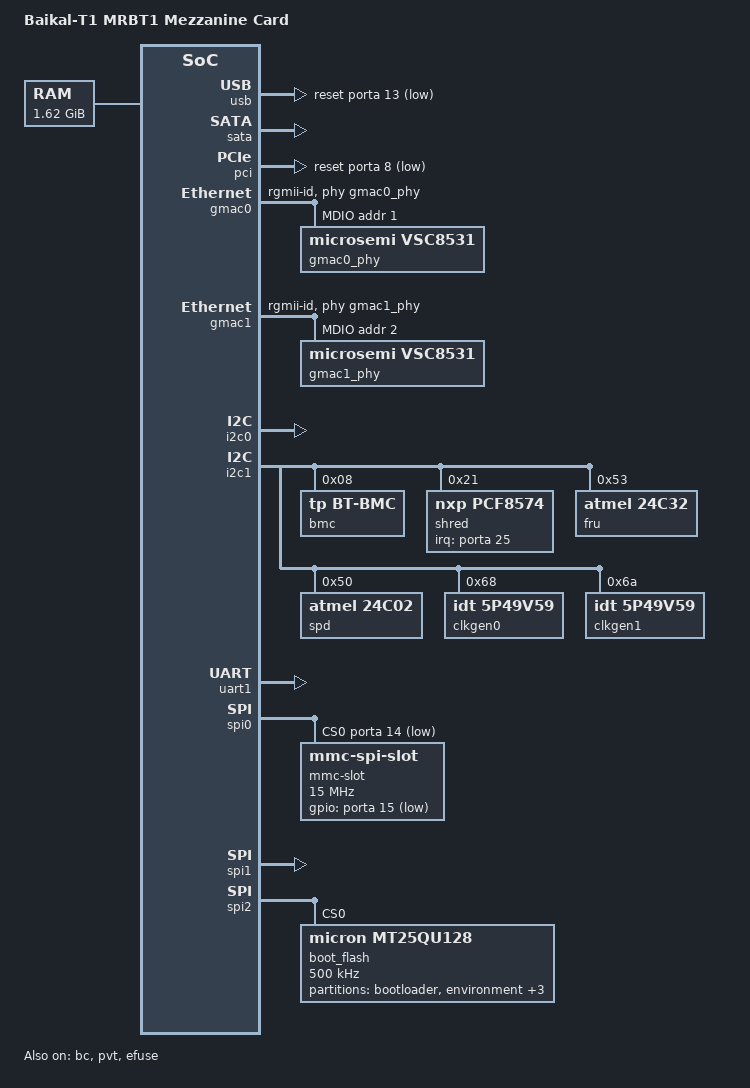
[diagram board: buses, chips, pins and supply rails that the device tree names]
/*
 * Baikal-T1 MRBT1 board device tree
 *
 * Copyright (C) 2018 T-platforms JSC
 *
 * This program is free software; you can redistribute it and/or
 * modify it under the terms of the GNU General Public License
 * as published by the Free Software Foundation; either version 2
 * of the License, or (at your option) any later version.
 */

#include <dt-bindings/interrupt-controller/mips-gic.h>
#include <dt-bindings/gpio/gpio.h>
#include <dt-bindings/net/mscc-phy-vsc8531.h>

#include  "baikal_t1_soc.dtsi"

/ {
	model = "Baikal-T1 MRBT1 Mezzanine Card";
	compatible = "baikal,mips", "baikal,baikal-t1-soc", "tplatforms,baikal-mrbt1-card";

	chosen {
		bootargs = "root=/dev/ram rw console=ttyS0,115200 earlyprintk=uart8250,mmio32,0x1F04A000,115200 nohtw";
		linux,initrd-start = <0 0x01000000>;
		linux,initrd-end   = <0 0x02000000>;
	};

	memory {
		device_type = "memory";
		reg = <0 0x00000000 0 0x08000000>,
		      <0 0x20000000 0 0x60000000>;
	};
};

&usb {
	status = "okay";

	reset-gpio = <&porta 13 GPIO_ACTIVE_LOW>;
};

&sata {
	status = "okay";
};

&pci {
	status = "okay";

	/* Deassert downstream devices reset pin */
	reset-gpio = <&porta 8 GPIO_ACTIVE_LOW>;
};

&xgmac {
	status = "disabled";
};

&gmac0 {
	status = "okay";
	phy-mode = "rgmii-id";
	phy-handle = <&gmac0_phy>;
	snps,reset-gp-out;
	snps,reset-active-low;
	snps,reset-delays-us = <0 2000 16000>;

	gmdio0: gmac0_mdio {
		compatible = "snps,dwmac-mdio";
		#address-cells = <1>;
		#size-cells = <0>;

		gmac0_phy: ethernet-phy@1 {
			compatible = "microsemi,vsc8531", "ethernet-phy-id0007.0570", "ethernet-phy-ieee802.3-c22", "ethernet-phy-ieee802.3-c45";
			reg = <0x1>;

			vsc8531,vddmac = <1800>;
			vsc8531,edge-slowdown = <0>;
			vsc8531,led-0-mode = <VSC8531_LINK_1000_ACTIVITY>;
			vsc8531,led-1-mode = <VSC8531_LINK_100_ACTIVITY>;
		};
	};
};

&gmac1 {
	status = "okay";
	phy-mode = "rgmii-id";
	phy-handle = <&gmac1_phy>;
	snps,reset-gp-out;
	snps,reset-active-low;
	snps,reset-delays-us = <0 2000 16000>;

	gmdio1: gmac1_mdio {
		compatible = "snps,dwmac-mdio";
		#address-cells = <1>;
		#size-cells = <0>;

		gmac1_phy: ethernet-phy@2 {
			compatible = "microsemi,vsc8531", "ethernet-phy-id0007.0570", "ethernet-phy-ieee802.3-c22", "ethernet-phy-ieee802.3-c45";
			reg = <0x2>;

			vsc8531,vddmac = <1800>;
			vsc8531,edge-slowdown = <0>;
			vsc8531,led-0-mode = <VSC8531_LINK_1000_ACTIVITY>;
			vsc8531,led-1-mode = <VSC8531_LINK_100_ACTIVITY>;
		};
	};
};

&gpio {
	status = "okay";
};

&gpio3 {
	status = "okay";
};

&bc {
	status = "okay";
};

&i2c0 {
	status = "okay";
};

&i2c1 {
	status = "okay";

	bmc: bmc@8 {
		compatible = "tp,bt-bmc";
		reg = <0x08>;
	};

	shred: gpio@21 {
		compatible = "nxp,pcf8574";
		reg = <0x21>;
		gpio-controller;
		#gpio-cells = <2>;
		interrupt-parent = <&porta>;
		interrupts = <25 IRQ_TYPE_LEVEL_LOW>;
		interrupt-controller;
		#interrupt-cells = <2>;
		ngpios = <8>; /* Informative */
	};

	fru: eeprom@53 {
		compatible = "atmel,24c32";
		reg = <0x53>;
		pagesize = <32>;
	};

	spd: eeprom@50 {
		compatible = "atmel,24c02";
		reg = <0x50>;
		pagesize = <8>;
	};

	clkgen0: clkgen@68 {
		compatible = "idt,5p49v59";
		reg = <0x68>;
	};

	clkgen1: clkgen@6A {
		compatible = "idt,5p49v59";
		reg = <0x6A>;
	};
};

&uart1 {
	status = "okay";
};

&spi0 {
	status = "okay";
	num-cs = <2>;
	cs-gpios = <&porta 14 GPIO_ACTIVE_LOW>, <0>;

	mmc-slot@0 {
		compatible = "mmc-spi-slot";
		reg = <0>;
		voltage-ranges = <2000 3600>;
		spi-max-frequency = <15000000>;
		/* Card-Detect GPIO */
		gpios = <&porta 15 GPIO_ACTIVE_LOW>;
	};
};

&spi1 {
	status = "okay";
	num-cs = <4>;
};

&spi2 {
	status = "okay";
	num-cs = <1>;

	boot_flash: mt25qu128@0 {
		#address-cells = <1>;
		#size-cells = <1>;
		reg = <0>;
		compatible = "micron,mt25qu128", "jedec,spi-nor";
		spi-max-frequency = <500000>;
		m25p,fast-read;

		partition@0 {
			label = "bootloader";
			reg = <0x0 0xE0000>;
			read-only;
		};

		partition@1 {
			label = "environment";
			reg = <0xE0000 0x10000>;
		};

		partition@2 {
			label = "information";
			reg = <0xF0000 0x10000>;
			read-only;
		};

		partition@3 {
			label = "multiimage";
			reg = <0x100000 0xF00000>;
			read-only;
		};

		partition@4 {
			label = "firmware";
			reg = <0x0 0x1000000>;
		};
	};
};

&pvt {
	status = "okay";
};

&efuse {
	status = "okay";
};
